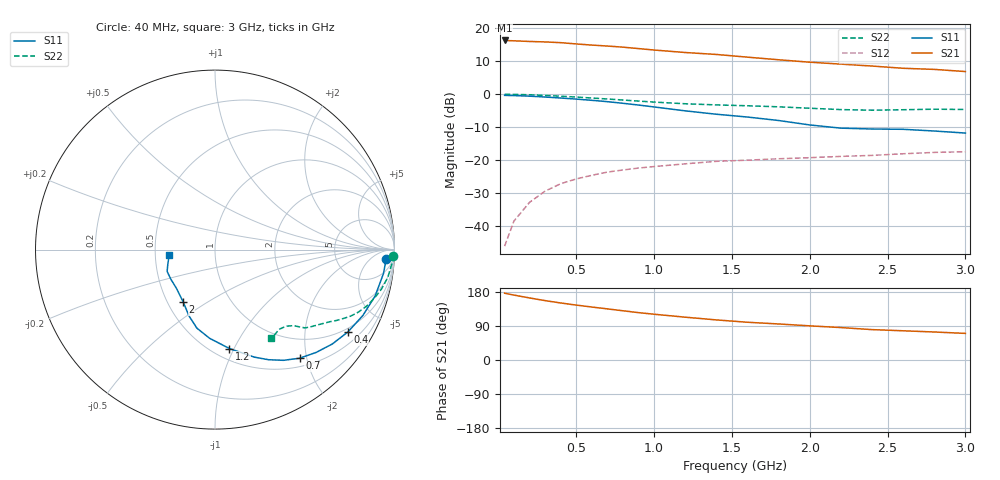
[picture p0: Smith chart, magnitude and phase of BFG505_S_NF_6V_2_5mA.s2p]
! Filename:  BFG505I.S2P  Version:  3.0
! Philips part #: BFG505  Date: Feb 1992
! Bias condition: Vce=6V, Ic=2.5mA
! IN LINE PINNING: same data as with cross emitter pinning.
#  MHz  S  MA  R  50
! Freq  S11  S21  S12  S22  !GUM [dB]
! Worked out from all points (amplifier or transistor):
!   21 points, 40 MHz to 3 GHz, reference 50 ohm
!   highest |S21| = 16.2 dB at 40 MHz (marker M1)
!   |S21| within 3 dB of that: start of sweep to 1.028 GHz
!   unconditionally stable (mu >= 1): 2.875 GHz to end of sweep
!   at 300 MHz: K = 0.16, MSG = 22.6 dB, |S12| = -29.4 dB
!   at 1 GHz: K = 0.46, MSG = 17.6 dB, |S12| = -21.9 dB
!   at 3 GHz: K = 1.05, MAG = 10.8 dB, |S12| = -17.5 dB
!   lowest NFmin = 1.30 dB at 900 MHz
!   S11 on the Smith chart (normalised r, x): 40 MHz: 17, -21; 400 MHz: 0.87, -3.30; 700 MHz: 0.64, -1.87; 1.2 GHz: 0.60, -0.96; 2 GHz: 0.60, -0.40; 3 GHz: 0.59, -0.04
40  0.955 -3.3  6.467 176.2  0.005 86.3  0.993 -1.9
100  0.948 -8.1  6.385 171.3  0.012 84.9  0.988 -4.7
200  0.929 -16.1  6.243 163.8  0.023 80.0  0.975 -9.2
300  0.902 -24.0  6.145 156.7  0.034 75.0  0.953 -13.4
400  0.871 -31.8  5.989 150.5  0.044 70.7  0.928 -17.0
500  0.839 -38.8  5.729 144.9  0.052 67.1  0.901 -20.5
600  0.804 -45.4  5.504 139.8  0.059 64.2  0.871 -23.6
700  0.767 -52.1  5.323 134.9  0.066 61.5  0.842 -26.1
800  0.725 -58.3  5.124 129.9  0.071 58.9  0.812 -28.2
900  0.682 -64.1  4.873 125.0  0.076 56.8  0.783 -30.3
1000  0.638 -69.9  4.633 120.8  0.08 55.2  0.756 -32.1
1200  0.557 -81.7  4.251 113.0  0.088 52.7  0.713 -35.9
1400  0.495 -93.5  3.972 105.8  0.096 50.9  0.685 -38.9
1600  0.449 -103.0  3.615 99.6  0.1 50.3  0.665 -41.0
1800  0.398 -111.2  3.3 95.1  0.105 50.5  0.641 -42.3
2000  0.341 -121.4  3.032 90.1  0.109 49.5  0.61 -44.0
2200  0.305 -134.5  2.837 85.6  0.114 48.7  0.582 -47.1
2400  0.296 -146.6  2.652 80.2  0.118 48.6  0.57 -51.2
2600  0.293 -155.5  2.454 77.1  0.125 49.7  0.579 -55.0
2800  0.276 -162.4  2.36 73.9  0.131 50.0  0.59 -56.7
3000  0.257 -173.5  2.19 70.2  0.134 50.6  0.584 -57.4
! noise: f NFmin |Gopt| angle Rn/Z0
900  1.3  0.619  17  0.74
2000  1.9  0.526  44  0.59
